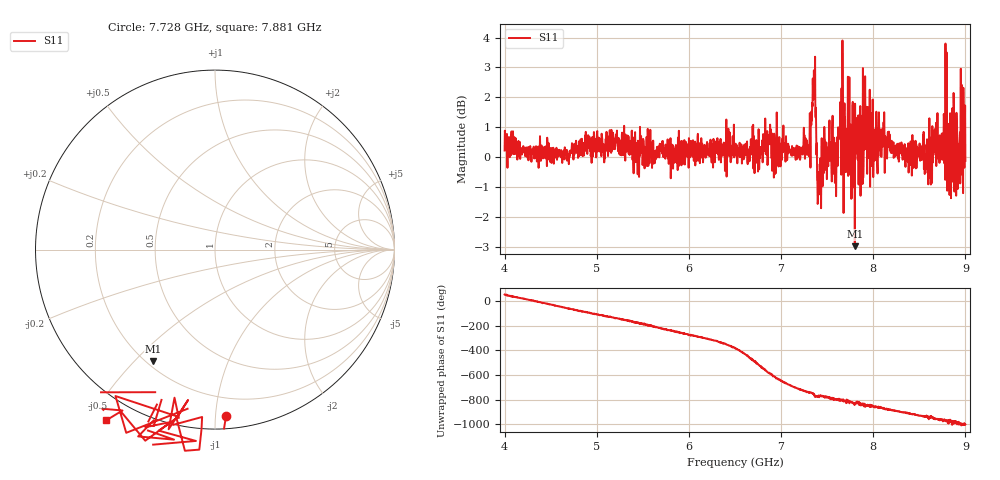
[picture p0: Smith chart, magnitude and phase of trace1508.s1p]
! Created with skrf 1.8.0 (http://scikit-rf.org).
# Hz S RI R 50.0
!freq ReS11 ImS11
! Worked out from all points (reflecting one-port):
!   1601 points, 4 GHz to 9 GHz, reference 50 ohm
!   lowest |S11| = -3.0 dB at 7.8 GHz (marker M1), VSWR 5.88, Z = 11.3 - j28.3 ohm
!   phase of S11 starts at 51 deg and turns -1053 deg over the sweep
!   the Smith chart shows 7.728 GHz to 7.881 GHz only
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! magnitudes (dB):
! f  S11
! 4 GHz  0.2
! 4.625 GHz  -0.2
! 5.25 GHz  0.1
! 5.875 GHz  0.3
! 6.5 GHz  0.3
! 7.125 GHz  0.3
! 7.294 GHz  0.1
! 7.353 GHz  2.0
! 7.409 GHz  -1.3
! 7.481 GHz  -0.4
! 7.591 GHz  0.5
! 7.65 GHz  -0.1
! 7.75 GHz  0.0
! 7.775 GHz  1.7
! 7.8 GHz  -3.0
! 7.872 GHz  0.7
! 7.928 GHz  1.3
! 7.991 GHz  -0.2
! 8.097 GHz  0.4
! 8.375 GHz  0.0
! 8.522 GHz  0.3
! 8.581 GHz  0.4
! 8.788 GHz  -0.2
! 8.828 GHz  -1.3
! 8.884 GHz  1.1
! 8.919 GHz  0.3
! 8.972 GHz  0.7
! 9 GHz  -0.1
